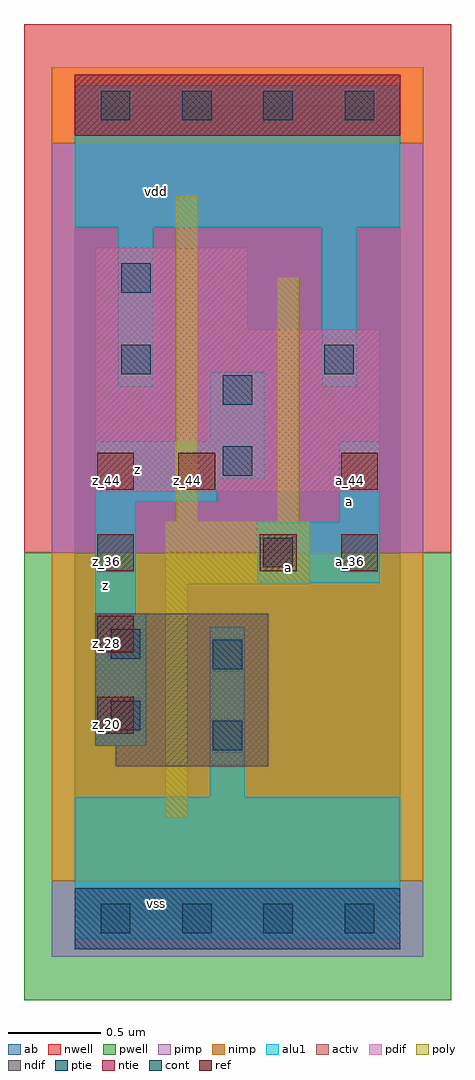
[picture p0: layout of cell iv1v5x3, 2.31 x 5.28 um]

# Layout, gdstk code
import gdstk
lib = gdstk.Library(unit=1e-6, precision=2.5e-09)
def R(c, l, rs):  # rectangles x0, y0, x1, y1
    for r in rs: c.add(gdstk.rectangle(r[:2], r[2:], *l))
def A(c, l, x, y, w, h, nx, ny, dx, dy):  # array of equal rectangles
    R(c, l, [(x+i*dx, y+j*dy, x+i*dx+w, y+j*dy+h) for i in range(nx) for j in range(ny)])
ndif = (3, 0)
pdif = (4, 0)
ntie = (5, 0)
ptie = (6, 0)
ref = (24, 0)
cont = (25, 0)
pwell = (41, 0)
nwell = (42, 0)
activ = (43, 0)
pimp = (44, 0)
nimp = (45, 0)
poly = (46, 0)
alu1 = (49, 0)
ab = (63, 0)

iv1v5x3 = lib.new_cell('iv1v5x3')
R(iv1v5x3, ndif, [(0.22,0.825,1.045,0.935), (0.11,0.935,1.045,1.65)])
R(iv1v5x3, pdif, [(0.11,2.31,1.65,3.19), (0.11,3.19,0.935,3.63)])
R(iv1v5x3, ntie, [(0,4.235,1.76,4.565)])
R(iv1v5x3, ptie, [(0,-0.165,1.76,0.165)])
A(iv1v5x3, ref, 0.12, 1, 0.2, 0.2, 1, 4, 0, 0.44)
R(iv1v5x3, ref, [(1,1.88,1.2,2.08), (1.44,1.88,1.64,2.08), (0.56,2.32,0.76,2.52), (1.44,2.32,1.64,2.52)])
A(iv1v5x3, cont, 0.14, -0.08, 0.16, 0.16, 4, 2, 0.44, 4.4)
R(iv1v5x3, cont, [(0.745,0.91,0.905,1.07), (0.195,1.02,0.355,1.18), (0.745,1.35,0.905,1.51), (0.195,1.405,0.355,1.565), (1.02,1.9,1.18,2.06), (0.8,2.395,0.96,2.555), (0.8,2.78,0.96,2.94), (0.25,2.945,0.41,3.105), (1.35,2.945,1.51,3.105), (0.25,3.385,0.41,3.545)])
R(iv1v5x3, pwell, [(-0.275,-0.44,2.035,1.98)])
R(iv1v5x3, nwell, [(-0.275,1.98,2.035,4.84)])
R(iv1v5x3, activ, [(0,-0.165,1.76,0.165), (0.22,0.825,1.045,0.935), (0.11,0.935,1.045,1.65), (0.11,2.31,1.65,3.19), (0.11,3.19,0.935,3.63), (0,4.235,1.76,4.565)])
R(iv1v5x3, pimp, [(-0.125,-0.205,1.885,0.205), (-0.125,1.98,1.885,4.195)])
R(iv1v5x3, nimp, [(-0.125,0.205,1.885,1.98), (-0.125,4.195,1.885,4.605)])
R(iv1v5x3, poly, [(0.49,0.545,0.61,1.81), (0.49,1.81,1.27,2.15), (0.545,2.15,0.665,3.91), (1.095,2.15,1.215,3.47)])
R(iv1v5x3, alu1, [(0,-0.11,1.76,0.66), (0.73,0.66,0.92,1.58), (0.11,0.935,0.385,1.65), (0.11,1.65,0.33,2.255), (0.99,1.815,1.65,2.145), (1.43,2.145,1.65,2.585), (0.11,2.255,0.77,2.38), (0.11,2.38,1.03,2.585), (0.73,2.585,1.03,2.955), (0.235,2.875,0.425,3.74), (1.335,2.875,1.525,3.74), (0,3.74,1.76,4.51)])
R(iv1v5x3, ab, [(0,0,1.76,4.4)])
iv1v5x3.add(gdstk.Label('vss', (0.44,0.0825), layer=49, texttype=0))
iv1v5x3.add(gdstk.Label('a', (1.155,1.8975), layer=49, texttype=0))
iv1v5x3.add(gdstk.Label('a', (1.485,2.255), layer=49, texttype=0))
iv1v5x3.add(gdstk.Label('z', (0.165,1.8), layer=49, texttype=0))
iv1v5x3.add(gdstk.Label('z', (0.34,2.43), layer=49, texttype=0))
iv1v5x3.add(gdstk.Label('vdd', (0.44,3.9325), layer=49, texttype=0))
iv1v5x3.add(gdstk.Label('z_44', (0.61,2.37), layer=24, texttype=0))
iv1v5x3.add(gdstk.Label('a_36', (1.05,1.93), layer=24, texttype=0))
iv1v5x3.add(gdstk.Label('a_36', (1.49,1.93), layer=24, texttype=0))
iv1v5x3.add(gdstk.Label('a_44', (1.49,2.37), layer=24, texttype=0))
iv1v5x3.add(gdstk.Label('z_20', (0.17,1.05), layer=24, texttype=0))
iv1v5x3.add(gdstk.Label('z_28', (0.17,1.49), layer=24, texttype=0))
iv1v5x3.add(gdstk.Label('z_36', (0.17,1.93), layer=24, texttype=0))
iv1v5x3.add(gdstk.Label('z_44', (0.17,2.37), layer=24, texttype=0))

lib.write_gds('iv1v5x3.gds')
